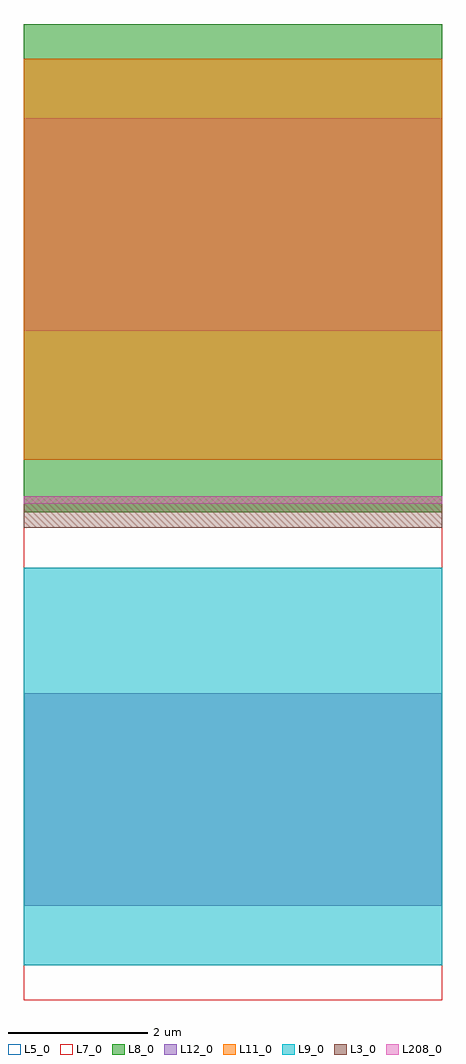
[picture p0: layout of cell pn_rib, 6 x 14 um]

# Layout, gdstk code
import gdstk
lib = gdstk.Library(unit=1e-6, precision=1e-09)
def R(c, l, rs):  # rectangles x0, y0, x1, y1
    for r in rs: c.add(gdstk.rectangle(r[:2], r[2:], *l))
L3_0 = (3, 0)
L5_0 = (5, 0)
L7_0 = (7, 0)
L8_0 = (8, 0)
L9_0 = (9, 0)
L11_0 = (11, 0)
L12_0 = (12, 0)
L208_0 = (208, 0)

pn_rib = lib.new_cell('pn_rib')
R(pn_rib, L3_0, [(-3,-0.225,3,0.225)])
R(pn_rib, L5_0, [(-3,-7,3,7)])
R(pn_rib, L7_0, [(-3,-7,3,7)])
R(pn_rib, L8_0, [(-3,0,3,7)])
R(pn_rib, L9_0, [(-3,-6.5,3,-0.8)])
R(pn_rib, L11_0, [(-3,0.75,3,6.5)])
R(pn_rib, L12_0, [(-3,-5.65,3,-2.6), (-3,2.6,3,5.65)])
R(pn_rib, L208_0, [(-3,0.115,3,0.225)])

lib.write_gds('pn_rib.gds')
